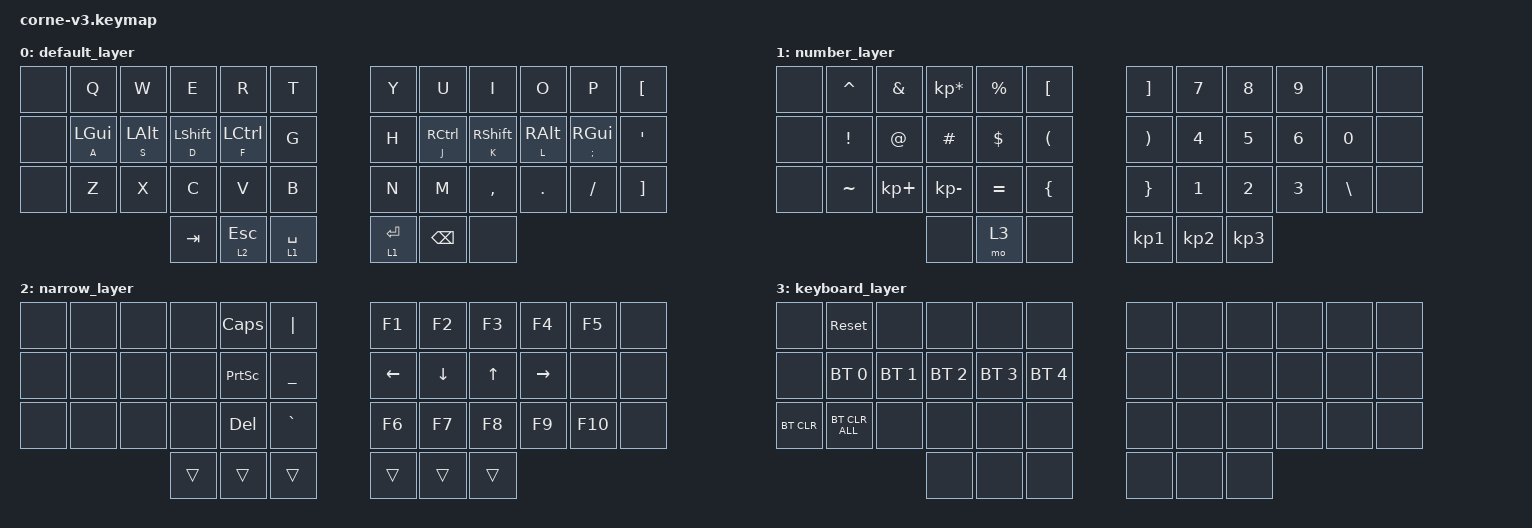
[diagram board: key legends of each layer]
#include <behaviors.dtsi>

#include <behaviors.dtsi>
#include <dt-bindings/zmk/bt.h>
#include <dt-bindings/zmk/keys.h>

#define DEFAULT_L 0
#define SYMBOLS_L 1
#define ARROWS_L  2
#define NUMBERS_L 3

/ {
    behaviors {
        hm: homerow_mods {
            compatible = "zmk,behavior-hold-tap";
            label = "HOMEROW_MODS";
            #binding-cells = <2>;
            tapping-term-ms = <300>;
            quick-tap-ms = <200>;
            flavor = "tap-preferred";
            bindings = <&kp>, <&kp>;
        };
    };

    keymap {
        compatible = "zmk,keymap";

        default_layer {
            bindings = <
&none  &kp Q           &kp W           &kp E             &kp R        &kp T          &kp Y        &kp U        &kp I              &kp O            &kp P               &kp LEFT_BRACKET
&none  &hm A LEFT_GUI  &hm S LEFT_ALT  &hm D LEFT_SHIFT  &hm F LCTRL  &kp G          &kp H        &hm J RCTRL  &hm K RIGHT_SHIFT  &hm L RIGHT_ALT  &hm SEMI RIGHT_GUI  &kp SQT
&none  &kp Z           &kp X           &kp C             &kp V        &kp B          &kp N        &kp M        &kp COMMA          &kp DOT          &kp FSLH            &kp RIGHT_BRACKET
                                       &kp TAB           &lt 2 ESC    &lt 1 SPACE    &lt 1 ENTER  &kp BSPC     &none
            >;
        };

        number_layer {
            bindings = <
&none  &kp CARET  &kp AMPS     &kp KP_MULTIPLY  &kp PRCNT  &kp LBKT          &kp RBKT         &kp N7     &kp N8     &kp N9        &none          &none
&none  &kp EXCL   &kp AT       &kp HASH         &kp DLLR   &kp LPAR          &kp RPAR         &kp N4     &kp N5     &kp NUMBER_6  &kp N0         &none
&none  &kp TILDE  &kp KP_PLUS  &kp KP_MINUS     &kp EQUAL  &kp LEFT_BRACE    &kp RIGHT_BRACE  &kp N1     &kp N2     &kp N3        &kp BACKSLASH  &none
                               &none            &mo 3      &none             &kp KP_N1        &kp KP_N2  &kp KP_N3
            >;
        };

        narrow_layer {
            bindings = <
&none  &none  &none  &none   &kp CAPS         &kp PIPE          &kp F1    &kp F2    &kp F3  &kp F4     &kp F5   &none
&none  &none  &none  &none   &kp PRINTSCREEN  &kp UNDERSCORE    &kp LEFT  &kp DOWN  &kp UP  &kp RIGHT  &none    &none
&none  &none  &none  &none   &kp DELETE       &kp GRAVE         &kp F6    &kp F7    &kp F8  &kp F9     &kp F10  &none
                     &trans  &trans           &trans            &trans    &trans    &trans
            >;
        };

        keyboard_layer {
            bindings = <
&none       &sys_reset      &none         &none         &none         &none           &none  &none  &none  &none  &none  &none
&none       &bt BT_SEL 0    &bt BT_SEL 1  &bt BT_SEL 2  &bt BT_SEL 3  &bt BT_SEL 4    &none  &none  &none  &none  &none  &none
&bt BT_CLR  &bt BT_CLR_ALL  &none         &none         &none         &none           &none  &none  &none  &none  &none  &none
                                          &none         &none         &none           &none  &none  &none
            >;
        };
    };
};
